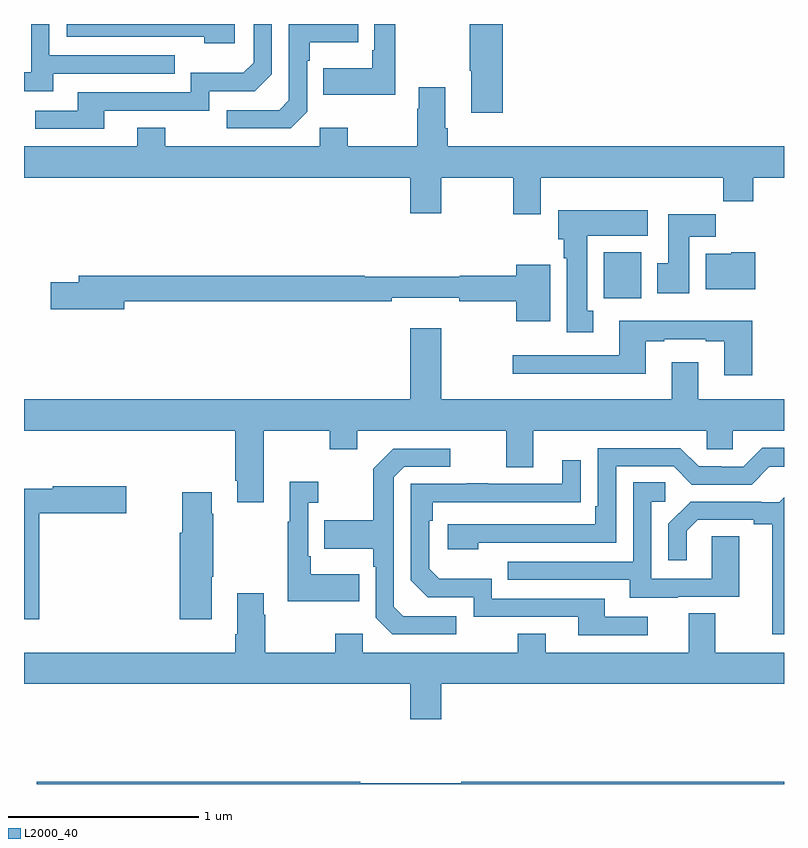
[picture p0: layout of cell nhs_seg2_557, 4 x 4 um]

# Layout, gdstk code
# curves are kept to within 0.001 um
import gdstk
lib = gdstk.Library(unit=1e-6, precision=1e-09)
def R(c, l, rs):  # rectangles x0, y0, x1, y1
    for r in rs: c.add(gdstk.rectangle(r[:2], r[2:], *l))
def P(c, l, *ps):  # polygons
    for p in ps: c.add(gdstk.Polygon(p, *l))
L2000_40 = (2000, 40)

nhs_seg2_557 = lib.new_cell('nhs_seg2_557')
R(nhs_seg2_557, L2000_40, [(142.052,624.356,142.249,624.598)])
P(nhs_seg2_557, L2000_40, [(140.49,625.338),(140.49,625.607),(140.503,625.607),(140.503,625.703),(140.759,625.703),(140.759,625.8),(140.394,625.8),(140.394,625.398),(140.343,625.347),(140.067,625.347),(140.067,625.251),(140.403,625.251)],
  [(140.11,625.8),(139.224,625.8),(139.224,625.734),(139.949,625.734),(139.949,625.7),(140.11,625.7)],
  [(139.423,625.344),(139.974,625.344),(139.974,625.446),(140.214,625.446),(140.304,625.536),(140.304,625.8),(140.208,625.8),(140.208,625.596),(140.155,625.543),(139.878,625.543),(139.878,625.44),(139.283,625.44),(139.283,625.344),(139.059,625.344),(139.059,625.248),(139.423,625.248)],
  [(140.953,625.8),(140.844,625.8),(140.844,625.663),(140.832,625.663),(140.832,625.567),(140.575,625.567),(140.575,625.427),(140.953,625.427)],
  [(139.153,625.539),(139.793,625.539),(139.793,625.635),(139.134,625.635),(139.134,625.8),(139.038,625.8),(139.038,625.545),(139,625.545),(139,625.445),(139.153,625.445)],
  [(141.521,625.8),(141.346,625.8),(141.346,625.555),(141.353,625.555),(141.353,625.332),(141.521,625.332)],
  [(141.721,624.992),(142.681,624.992),(142.681,624.868),(142.838,624.868),(142.838,624.992),(143,624.992),(143,625.156),(141.23,625.156),(141.23,625.252),(141.217,625.252),(141.217,625.468),(141.077,625.468),(141.077,625.355),(141.07,625.355),(141.07,625.156),(140.703,625.156),(140.703,625.255),(140.556,625.255),(140.556,625.156),(139.743,625.156),(139.743,625.255),(139.595,625.255),(139.595,625.156),(139,625.156),(139,624.992),(141.032,624.992),(141.032,624.804),(141.196,624.804),(141.196,624.992),(141.574,624.992),(141.574,624.798),(141.721,624.798)],
  [(141.997,624.29),(141.964,624.29),(141.964,624.686),(142.282,624.686),(142.282,624.82),(141.812,624.82),(141.812,624.666),(141.842,624.666),(141.842,624.566),(141.857,624.566),(141.857,624.177),(141.997,624.177)],
  [(142.501,624.68),(142.64,624.68),(142.64,624.799),(142.391,624.799),(142.391,624.54),(142.334,624.54),(142.334,624.384),(142.501,624.384)],
  [(142.848,624.598),(142.722,624.598),(142.722,624.592),(142.589,624.592),(142.589,624.404),(142.848,624.404)],
  [(141.769,624.532),(141.59,624.532),(141.59,624.476),(141.294,624.476),(141.294,624.469),(140.794,624.469),(140.794,624.476),(139.289,624.476),(139.289,624.44),(139.14,624.44),(139.14,624.298),(139.528,624.298),(139.528,624.34),(140.936,624.34),(140.936,624.359),(141.292,624.359),(141.292,624.34),(141.59,624.34),(141.59,624.236),(141.769,624.236)],
  [(142.833,624.238),(142.133,624.238),(142.133,624.057),(141.573,624.057),(141.573,623.96),(142.273,623.96),(142.273,624.129),(142.369,624.129),(142.369,624.141),(142.589,624.141),(142.589,624.129),(142.685,624.129),(142.685,623.952),(142.833,623.952)],
  [(140.263,623.66),(140.608,623.66),(140.608,623.561),(140.755,623.561),(140.755,623.66),(141.539,623.66),(141.539,623.466),(141.679,623.466),(141.679,623.66),(142.593,623.66),(142.593,623.562),(142.731,623.562),(142.731,623.66),(143,623.66),(143,623.824),(142.549,623.824),(142.549,624.019),(142.409,624.019),(142.409,623.824),(141.196,623.824),(141.196,624.199),(141.032,624.199),(141.032,623.824),(139,623.824),(139,623.66),(140.111,623.66),(140.111,623.395),(140.123,623.395),(140.123,623.283),(140.263,623.283)],
  [(141.392,623.07),(142.116,623.07),(142.116,623.472),(142.419,623.472),(142.515,623.376),(142.83,623.376),(142.923,623.469),(143,623.469),(143,623.569),(142.885,623.569),(142.785,623.469),(142.67,623.469),(142.67,623.472),(142.551,623.472),(142.455,623.568),(142.02,623.568),(142.02,623.263),(142.007,623.263),(142.007,623.166),(141.231,623.166),(141.231,623.036),(141.392,623.036)],
  [(141.274,622.683),(140.997,622.683),(140.946,622.734),(140.946,623.415),(141,623.469),(141.244,623.469),(141.244,623.565),(140.943,623.565),(140.838,623.459),(140.838,623.187),(140.581,623.187),(140.581,623.039),(140.838,623.039),(140.838,622.943),(140.85,622.943),(140.85,622.674),(140.937,622.587),(141.274,622.587)],
  [(142.282,622.68),(142.057,622.68),(142.057,622.776),(141.462,622.776),(141.462,622.879),(141.185,622.879),(141.132,622.932),(141.132,623.186),(141.152,623.186),(141.152,623.283),(141.929,623.284),(141.929,623.503),(141.833,623.503),(141.833,623.379),(141.443,623.379),(141.443,623.384),(141.331,623.384),(141.331,623.379),(141.036,623.379),(141.036,622.872),(141.126,622.782),(141.366,622.782),(141.366,622.68),(141.917,622.68),(141.917,622.584),(142.282,622.584)],
  [(140.765,622.903),(140.509,622.903),(140.509,622.999),(140.496,622.999),(140.496,623.279),(140.548,623.279),(140.548,623.392),(140.399,623.392),(140.399,623.179),(140.388,623.179),(140.388,622.763),(140.765,622.763)],
  [(142.441,622.785),(142.765,622.785),(142.765,623.105),(142.62,623.105),(142.62,622.881),(142.302,622.881),(142.302,623.286),(142.375,623.286),(142.375,623.387),(142.206,623.387),(142.206,622.971),(141.547,622.971),(141.547,622.875),(142.187,622.875),(142.187,622.781),(142.441,622.781)],
  [(139.079,623.225),(139.537,623.225),(139.537,623.367),(139.152,623.367),(139.152,623.355),(139,623.355),(139,622.668),(139.079,622.668)],
  [(139.987,622.891),(139.995,622.891),(139.995,623.222),(139.987,623.222),(139.987,623.335),(139.832,623.335),(139.832,623.122),(139.82,623.122),(139.82,622.668),(139.987,622.668)],
  [(143,623.309),(142.974,623.283),(142.88,623.283),(142.88,623.286),(142.508,623.286),(142.392,623.17),(142.392,622.977),(142.489,622.977),(142.489,623.133),(142.546,623.19),(142.841,623.19),(142.841,623.168),(142.937,623.168),(142.937,622.587),(143,622.587)],
  [(141.196,622.328),(143,622.328),(143,622.492),(142.639,622.492),(142.639,622.7),(142.499,622.7),(142.499,622.492),(141.745,622.492),(141.745,622.591),(141.598,622.591),(141.598,622.492),(140.784,622.492),(140.784,622.591),(140.638,622.591),(140.638,622.492),(140.271,622.492),(140.271,622.691),(140.263,622.691),(140.263,622.804),(140.123,622.804),(140.123,622.588),(140.111,622.588),(140.111,622.492),(139,622.492),(139,622.328),(141.032,622.328),(141.032,622.14),(141.196,622.14)],
  [(143,621.812),(141.302,621.812),(141.302,621.805),(140.771,621.805),(140.771,621.812),(139.067,621.812),(139.067,621.8),(143,621.8)])

lib.write_gds('nhs_seg2_557.gds')
